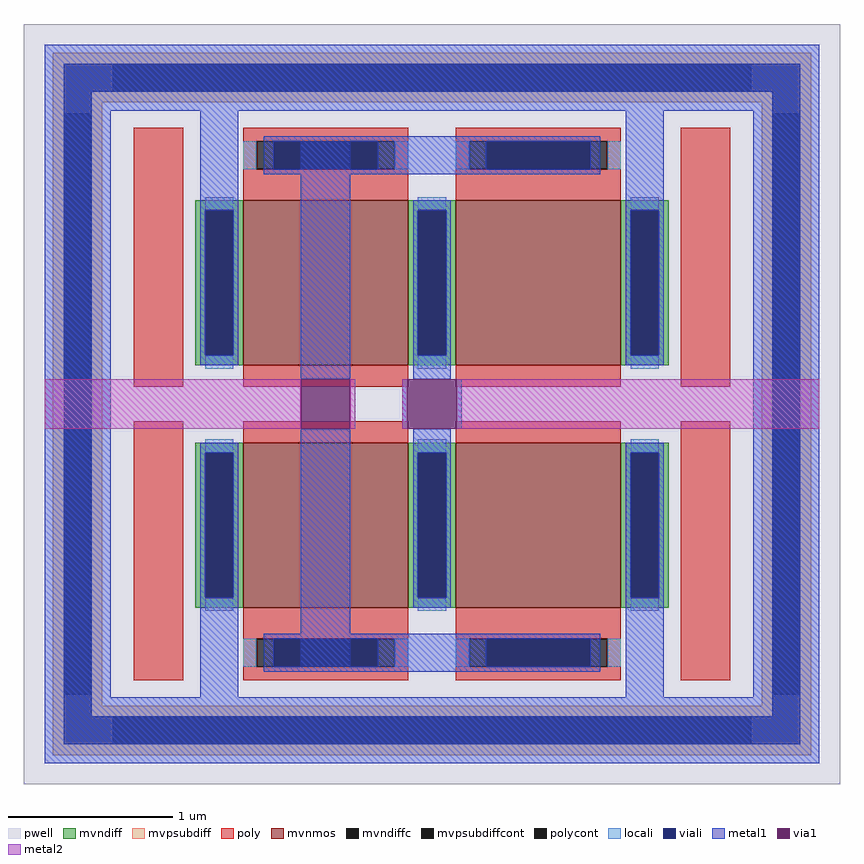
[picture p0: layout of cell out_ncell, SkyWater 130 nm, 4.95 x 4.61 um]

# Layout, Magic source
magic
tech sky130A
magscale 1 2
<< pwell >>
rect -66 -463 924 459
<< mvpsubdiffcont >>
rect 42 377 816 411
rect -18 -355 16 351
rect 842 -355 876 351
rect 42 -415 816 -381
<< viali >>
rect -18 377 42 411
rect 42 377 816 411
rect 816 377 876 411
rect -18 351 16 377
rect -18 -355 16 351
rect -18 -381 16 -355
rect 842 351 876 377
rect 842 -355 876 351
rect 842 -381 876 -355
rect -18 -415 42 -381
rect 42 -415 816 -381
rect 816 -415 876 -381
<< metal1 >>
rect 270 28 330 323
rect 406 28 452 45
rect 393 -32 399 28
rect 459 -32 465 28
rect 270 -327 330 -32
rect 406 -49 452 -32
<< via1 >>
rect 270 -32 330 28
rect 399 -32 459 28
<< metal2 >>
rect -41 -32 270 28
rect 330 -32 336 28
rect 393 -32 399 28
rect 459 -32 899 28
use out_ncell_2  out_ncell_2_0 ~/10-bit-DAC/mag
transform 1 0 157 0 1 -14
box -198 12 742 448
use out_ncell_2  out_ncell_2_1
transform 1 0 157 0 -1 10
box -198 12 742 448
<< end >>

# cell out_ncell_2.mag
magic
tech sky130A
magscale 1 2
<< mvpsubdiff >>
rect -188 378 732 438
rect -188 12 -128 378
rect 672 12 732 378
<< poly >>
rect -90 33 -30 347
rect 574 33 634 347
<< locali >>
rect -175 391 719 425
rect -175 12 -141 391
rect 685 12 719 391
<< metal1 >>
rect -198 368 742 448
rect -198 12 -118 368
rect -9 257 37 368
rect 218 291 326 337
rect 507 259 553 368
rect 662 12 742 368
use sky130_fd_pr__nfet_g5v0d10v5_7VNVKF  sky130_fd_pr__nfet_g5v0d10v5_7VNVKF_0
transform 1 0 272 0 1 190
box -287 -157 287 157
<< end >>

# cell sky130_fd_pr__nfet_g5v0d10v5_7VNVKF: kit device sky130_fd_pr__nfet_g5v0d10v5, w 1 l 1 m 1 nf 2 diffcov 100 polycov 100 guard 0 glc 1 grc 1 gtc 1 gbc 1 tbcov 100 rlcov 100 topc 1 botc 0 poverlap 0 doverlap 1 lmin 0.50 wmin 0.42 compatible {sky130_fd_pr__nfet_01v8 sky130_fd_pr__nfet_01v8_lvt sky130_fd_bs_flash__special_sonosfet_star sky130_fd_pr__nfet_g5v0d10v5 sky130_fd_pr__nfet_05v0_nvt sky130_fd_pr__nfet_03v3_nvt} full_metal 1 viasrc 100 viadrn 100 viagate 75 viagb 0 viagr 0 viagl 0 viagt 0
